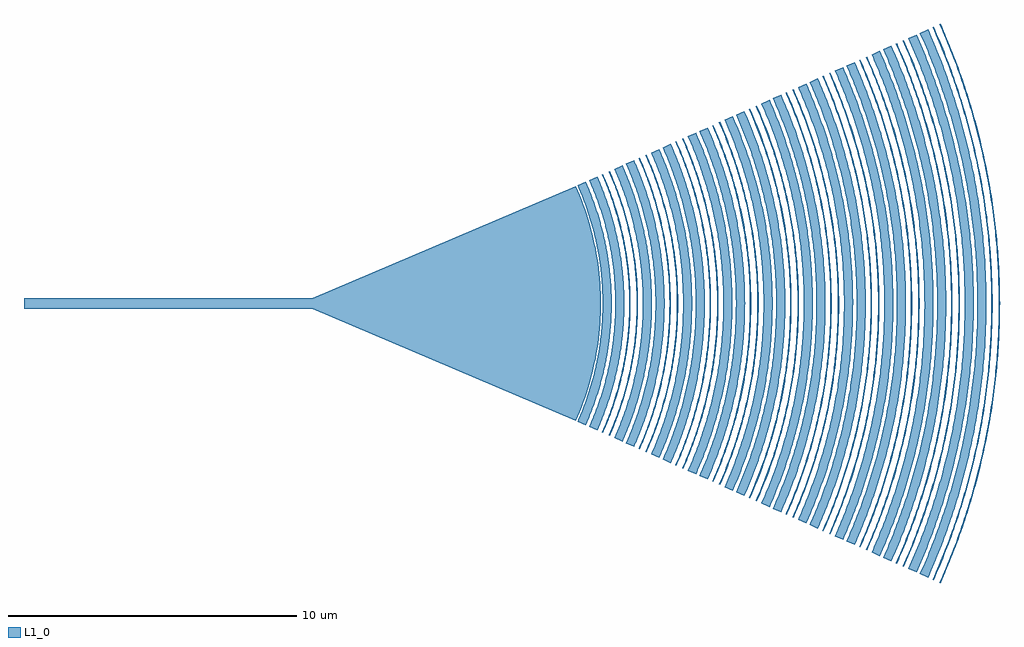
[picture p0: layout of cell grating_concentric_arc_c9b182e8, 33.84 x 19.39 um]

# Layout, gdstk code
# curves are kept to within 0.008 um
from math import pi, radians
import gdstk
lib = gdstk.Library(unit=1e-6, precision=1e-09)
def R(c, l, rs):  # rectangles x0, y0, x1, y1
    for r in rs: c.add(gdstk.rectangle(r[:2], r[2:], *l))
def P(c, l, *ps):  # polygons
    for p in ps: c.add(gdstk.Polygon(p, *l))
L1_0 = (1, 0)

straight_7f76c2be = lib.new_cell('straight_7f76c2be')
R(straight_7f76c2be, L1_0, [(0,-0.175,10,0.175)])

ring_57d88f06 = lib.new_cell('ring_57d88f06')
P(ring_57d88f06, L1_0, [(10.064,0),(10.056,0.41),(10.021,0.935),(9.958,1.459),(9.868,1.978),(9.751,2.492),(9.658,2.83),(9.516,3.277),(9.353,3.716),(9.146,4.2),(8.859,4.776),(8.596,5.234),(8.278,5.725),(7.967,6.15),(7.596,6.603),(7.158,7.075),(6.734,7.479),(6.942,7.71),(7.379,7.294),(7.791,6.852),(8.176,6.388),(8.499,5.951),(8.831,5.447),(9.104,4.977),(9.352,4.494),(9.62,3.887),(9.886,3.149),(10.082,2.451),(10.218,1.802),(10.312,1.145),(10.358,0.603),(10.375,0)])

ring_49fc0bc4 = lib.new_cell('ring_49fc0bc4')
P(ring_49fc0bc4, L1_0, [(10.504,0),(10.495,0.428),(10.464,0.915),(10.41,1.401),(10.311,2.004),(10.221,2.422),(10.08,2.954),(9.931,3.42),(9.739,3.935),(9.494,4.494),(9.216,5.039),(8.908,5.566),(8.569,6.075),(8.201,6.563),(7.847,6.983),(7.47,7.384),(7.028,7.806),(7.236,8.037),(7.692,7.603),(8.079,7.19),(8.483,6.708),(8.823,6.255),(9.138,5.784),(9.459,5.243),(9.748,4.684),(10.004,4.11),(10.266,3.402),(10.478,2.677),(10.628,2.002),(10.742,1.256),(10.793,0.692),(10.815,0)])

ring_69537ad3 = lib.new_cell('ring_69537ad3')
P(ring_69537ad3, L1_0, [(10.987,0),(10.978,0.447),(10.94,1.021),(10.913,1.276),(10.862,1.656),(10.773,2.159),(10.706,2.472),(10.613,2.844),(10.469,3.334),(10.303,3.818),(10.089,4.352),(9.931,4.701),(9.819,4.931),(9.61,5.327),(9.318,5.822),(9.037,6.25),(8.851,6.51),(8.619,6.815),(8.334,7.16),(8.165,7.352),(7.904,7.632),(7.632,7.904),(7.352,8.165),(7.38,8.196),(7.753,7.844),(7.978,7.615),(8.196,7.38),(8.571,6.941),(8.922,6.483),(9.071,6.273),(9.319,5.899),(9.615,5.403),(9.768,5.121),(9.913,4.835),(10.127,4.368),(10.226,4.131),(10.364,3.772),(10.509,3.347),(10.653,2.854),(10.746,2.481),(10.814,2.167),(10.903,1.662),(10.954,1.28),(10.987,0.961),(11.02,0.449),(11.029,0.064),(11.029,0)])

ring_47f802f8 = lib.new_cell('ring_47f802f8')
P(ring_47f802f8, L1_0, [(11.245,0),(11.23,0.589),(11.208,0.915),(11.177,1.24),(11.136,1.565),(11.086,1.888),(10.986,2.402),(10.845,2.974),(10.695,3.475),(10.522,3.969),(10.377,4.334),(10.273,4.574),(10.02,5.105),(9.739,5.623),(9.431,6.125),(9.136,6.557),(8.821,6.975),(8.53,7.328),(8.313,7.573),(8.089,7.812),(7.812,8.089),(7.524,8.357),(7.552,8.388),(7.981,7.981),(8.388,7.552),(8.604,7.305),(8.813,7.052),(9.17,6.581),(9.394,6.257),(9.537,6.037),(9.775,5.643),(10.057,5.124),(10.311,4.591),(10.537,4.045),(10.734,3.488),(10.813,3.237),(10.919,2.858),(11.054,2.282),(11.104,2.025),(11.168,1.636),(11.203,1.376),(11.244,0.984),(11.28,0.394),(11.287,0)])

ring_06f8e313 = lib.new_cell('ring_06f8e313')
P(ring_06f8e313, L1_0, [(11.459,0),(11.447,0.533),(11.41,1.065),(11.348,1.595),(11.249,2.187),(11.135,2.707),(10.997,3.223),(10.835,3.731),(10.625,4.293),(10.386,4.843),(10.055,5.497),(9.753,6.016),(9.387,6.573),(8.947,7.16),(8.516,7.668),(8.15,8.056),(7.668,8.516),(7.876,8.747),(8.323,8.323),(8.793,7.825),(9.233,7.3),(9.642,6.751),(10.054,6.121),(10.36,5.586),(10.609,5.098),(10.887,4.473),(11.173,3.702),(11.387,2.98),(11.541,2.313),(11.674,1.502),(11.742,0.821),(11.77,0)])

ring_b8cab41b = lib.new_cell('ring_b8cab41b')
P(ring_b8cab41b, L1_0, [(11.899,0),(11.886,0.554),(11.847,1.106),(11.763,1.793),(11.667,2.338),(11.545,2.879),(11.379,3.479),(11.205,4.004),(10.98,4.585),(10.725,5.154),(10.407,5.769),(10.054,6.364),(9.667,6.938),(9.247,7.488),(8.889,7.91),(8.414,8.414),(7.962,8.842),(8.17,9.074),(8.634,8.634),(9.168,8.064),(9.577,7.573),(10.002,7.003),(10.392,6.41),(10.747,5.795),(11.066,5.16),(11.294,4.64),(11.59,3.84),(11.794,3.16),(11.972,2.399),(12.101,1.629),(12.185,0.781),(12.21,0)])

ring_2b8b022c = lib.new_cell('ring_2b8b022c')
P(ring_2b8b022c, L1_0, [(12.382,0),(12.369,0.576),(12.347,0.936),(12.322,1.223),(12.281,1.58),(12.23,1.937),(12.112,2.574),(11.979,3.135),(11.862,3.551),(11.754,3.895),(11.534,4.505),(11.312,5.036),(11.033,5.621),(10.759,6.129),(10.614,6.377),(10.385,6.744),(10.06,7.22),(9.713,7.68),(9.392,8.069),(9.105,8.392),(8.857,8.653),(8.549,8.957),(8.285,9.202),(8.313,9.233),(8.734,8.836),(9.037,8.526),(9.233,8.313),(9.655,7.818),(9.834,7.592),(10.051,7.302),(10.218,7.067),(10.459,6.706),(10.759,6.212),(11.037,5.705),(11.198,5.381),(11.35,5.053),(11.492,4.721),(11.624,4.385),(11.816,3.839),(11.902,3.563),(12.019,3.146),(12.089,2.865),(12.167,2.512),(12.235,2.157),(12.282,1.872),(12.34,1.442),(12.37,1.155),(12.407,0.65),(12.423,0.145),(12.424,0)])

ring_8eca29e6 = lib.new_cell('ring_8eca29e6')
P(ring_8eca29e6, L1_0, [(12.64,0),(12.637,0.294),(12.623,0.662),(12.571,1.321),(12.496,1.905),(12.422,2.34),(12.364,2.628),(12.265,3.058),(12.19,3.342),(12.088,3.696),(11.999,3.976),(11.801,4.53),(11.577,5.074),(11.456,5.342),(11.296,5.673),(11.091,6.064),(10.947,6.32),(10.641,6.822),(10.312,7.31),(9.961,7.782),(9.777,8.012),(9.54,8.293),(9.244,8.621),(8.99,8.886),(8.781,9.093),(8.458,9.393),(8.486,9.424),(8.915,9.019),(9.224,8.703),(9.424,8.486),(9.809,8.038),(9.993,7.808),(10.26,7.454),(10.472,7.153),(10.636,6.907),(10.794,6.658),(10.983,6.341),(11.127,6.084),(11.333,5.691),(11.615,5.091),(11.866,4.476),(12.084,3.849),(12.17,3.566),(12.287,3.139),(12.357,2.853),(12.449,2.42),(12.548,1.838),(12.596,1.472),(12.64,1.032),(12.674,0.443),(12.682,0)])

ring_ff60fae7 = lib.new_cell('ring_ff60fae7')
P(ring_ff60fae7, L1_0, [(12.854,0),(12.84,0.598),(12.784,1.344),(12.696,2.011),(12.618,2.453),(12.508,2.964),(12.314,3.687),(12.129,4.256),(11.89,4.884),(11.586,5.568),(11.314,6.101),(10.901,6.812),(10.529,7.373),(10.083,7.973),(9.652,8.489),(9.142,9.036),(8.601,9.552),(8.809,9.784),(9.363,9.255),(9.835,8.752),(10.327,8.165),(10.74,7.614),(11.165,6.976),(11.514,6.383),(11.833,5.771),(12.178,5.003),(12.473,4.214),(12.717,3.407),(12.893,2.662),(13.037,1.832),(13.101,1.3),(13.133,0.918),(13.16,0.383),(13.165,0)])

ring_caf03b47 = lib.new_cell('ring_caf03b47')
P(ring_caf03b47, L1_0, [(13.294,0),(13.283,0.541),(13.229,1.313),(13.142,2.003),(13.019,2.688),(12.88,3.291),(12.713,3.887),(12.492,4.547),(12.267,5.123),(11.982,5.758),(11.627,6.445),(11.274,7.044),(10.845,7.688),(10.38,8.306),(9.982,8.78),(9.509,9.29),(8.895,9.879),(9.103,10.11),(9.676,9.564),(10.163,9.044),(10.672,8.438),(11.099,7.868),(11.453,7.343),(11.899,6.596),(12.228,5.964),(12.554,5.243),(12.811,4.579),(13.078,3.75),(13.291,2.906),(13.384,2.44),(13.461,1.972),(13.522,1.501),(13.566,1.028),(13.599,0.396),(13.605,0)])

ring_69cf05c6 = lib.new_cell('ring_69cf05c6')
P(ring_69cf05c6, L1_0, [(13.777,0),(13.769,0.481),(13.754,0.801),(13.702,1.44),(13.654,1.838),(13.595,2.234),(13.476,2.864),(13.406,3.177),(13.308,3.566),(13.221,3.874),(13.103,4.257),(13,4.561),(12.862,4.937),(12.744,5.235),(12.586,5.604),(12.312,6.183),(12.127,6.539),(11.931,6.889),(11.726,7.233),(11.511,7.571),(11.193,8.033),(10.807,8.545),(10.398,9.039),(10.185,9.278),(9.855,9.628),(9.513,9.966),(9.219,10.238),(9.246,10.269),(9.541,9.996),(9.828,9.714),(10.051,9.483),(10.323,9.187),(10.739,8.696),(11.132,8.187),(11.501,7.66),(11.719,7.323),(11.927,6.979),(12.125,6.629),(12.276,6.345),(12.49,5.913),(12.624,5.621),(12.782,5.251),(12.901,4.952),(13.066,4.499),(13.167,4.194),(13.348,3.577),(13.446,3.187),(13.517,2.873),(13.609,2.4),(13.661,2.082),(13.716,1.684),(13.759,1.284),(13.8,0.723),(13.818,0.161),(13.819,0)])

ring_54fb7290 = lib.new_cell('ring_54fb7290')
P(ring_54fb7290, L1_0, [(14.035,0),(14.029,0.408),(14.016,0.735),(13.995,1.06),(13.958,1.467),(13.875,2.115),(13.822,2.437),(13.745,2.838),(13.657,3.237),(13.557,3.633),(13.469,3.947),(13.323,4.415),(13.103,5.03),(12.951,5.409),(12.822,5.709),(12.615,6.153),(12.505,6.372),(12.315,6.733),(12.155,7.018),(11.771,7.644),(11.59,7.916),(11.355,8.25),(11.16,8.512),(10.907,8.833),(10.539,9.269),(10.265,9.572),(9.982,9.866),(9.75,10.096),(9.391,10.43),(9.419,10.461),(9.66,10.239),(9.954,9.954),(10.239,9.66),(10.516,9.358),(10.94,8.859),(11.193,8.537),(11.436,8.208),(11.716,7.803),(11.894,7.529),(12.108,7.18),(12.272,6.896),(12.429,6.609),(12.616,6.244),(12.893,5.651),(13.142,5.045),(13.31,4.583),(13.413,4.272),(13.554,3.801),(13.618,3.564),(13.716,3.167),(13.786,2.847),(13.863,2.444),(13.916,2.121),(13.972,1.715),(14.016,1.308),(14.053,0.818),(14.076,0.164),(14.077,0)])

ring_436e344e = lib.new_cell('ring_436e344e')
P(ring_436e344e, L1_0, [(14.249,0),(14.234,0.663),(14.195,1.242),(14.099,2.065),(13.987,2.719),(13.846,3.367),(13.674,4.007),(13.473,4.639),(13.18,5.415),(12.879,6.097),(12.542,6.763),(12.128,7.48),(11.672,8.173),(11.126,8.903),(10.699,9.411),(10.076,10.076),(9.534,10.589),(9.743,10.82),(10.415,10.175),(10.877,9.679),(11.421,9.031),(11.878,8.421),(12.348,7.716),(12.775,6.985),(13.16,6.23),(13.468,5.533),(13.653,5.059),(13.821,4.58),(14.086,3.687),(14.293,2.778),(14.43,1.942),(14.525,1.016),(14.554,0.423),(14.56,0)])

ring_5656dfb5 = lib.new_cell('ring_5656dfb5')
P(ring_5656dfb5, L1_0, [(14.688,0),(14.673,0.683),(14.617,1.45),(14.521,2.213),(14.419,2.803),(14.273,3.47),(14.096,4.131),(13.832,4.943),(13.587,5.582),(13.202,6.439),(12.847,7.121),(12.457,7.784),(11.983,8.495),(11.469,9.177),(10.973,9.765),(10.447,10.326),(9.828,10.916),(10.037,11.147),(10.668,10.544),(11.205,9.972),(11.712,9.372),(12.237,8.675),(12.72,7.949),(13.119,7.272),(13.519,6.497),(13.841,5.78),(14.154,4.966),(14.318,4.469),(14.466,3.966),(14.69,3.033),(14.854,2.088),(14.957,1.133),(14.987,0.611),(14.999,0)])

ring_357ed0d0 = lib.new_cell('ring_357ed0d0')
P(ring_357ed0d0, L1_0, [(15.172,0),(15.156,0.706),(15.129,1.146),(15.098,1.498),(15.048,1.937),(14.999,2.286),(14.957,2.548),(14.859,3.068),(14.763,3.499),(14.678,3.841),(14.56,4.267),(14.483,4.52),(14.374,4.856),(14.196,5.355),(14.034,5.765),(13.896,6.09),(13.788,6.332),(13.598,6.73),(13.396,7.123),(13.227,7.433),(13.005,7.814),(12.82,8.115),(12.529,8.557),(12.326,8.846),(11.956,9.341),(11.679,9.685),(11.45,9.954),(11.156,10.283),(10.852,10.603),(10.476,10.975),(10.152,11.275),(10.18,11.306),(10.44,11.066),(10.758,10.758),(11.066,10.44),(11.306,10.18),(11.597,9.847),(11.879,9.505),(12.097,9.226),(12.36,8.87),(12.613,8.507),(12.855,8.137),(13.086,7.76),(13.263,7.453),(13.433,7.142),(13.635,6.749),(13.934,6.107),(14.203,5.452),(14.356,5.037),(14.523,4.533),(14.672,4.023),(14.762,3.68),(14.917,2.99),(14.967,2.729),(15.053,2.205),(15.111,1.766),(15.156,1.326),(15.193,0.796),(15.211,0.266),(15.213,0)])

ring_1ff96e64 = lib.new_cell('ring_1ff96e64')
P(ring_1ff96e64, L1_0, [(15.43,0),(15.426,0.359),(15.409,0.808),(15.355,1.524),(15.304,1.97),(15.254,2.325),(15.18,2.768),(15.093,3.208),(14.972,3.733),(14.881,4.08),(14.675,4.768),(14.53,5.193),(14.405,5.53),(14.273,5.863),(14.096,6.276),(13.789,6.925),(13.539,7.402),(13.363,7.715),(13.18,8.024),(12.941,8.404),(12.742,8.703),(12.536,8.997),(12.323,9.286),(12.048,9.64),(11.586,10.191),(11.285,10.523),(10.911,10.911),(10.654,11.162),(10.325,11.467),(10.352,11.498),(10.617,11.254),(10.94,10.94),(11.254,10.617),(11.498,10.352),(11.794,10.014),(11.967,9.806),(12.192,9.525),(12.464,9.167),(12.877,8.577),(13.121,8.199),(13.399,7.736),(13.618,7.343),(13.826,6.944),(13.984,6.62),(14.134,6.293),(14.311,5.879),(14.476,5.46),(14.629,5.037),(14.742,4.695),(14.897,4.178),(14.99,3.83),(15.152,3.129),(15.221,2.775),(15.295,2.331),(15.367,1.796),(15.413,1.348),(15.455,0.72),(15.469,0.27),(15.471,0)])

ring_6693392e = lib.new_cell('ring_6693392e')
P(ring_6693392e, L1_0, [(15.644,0),(15.627,0.728),(15.567,1.545),(15.479,2.267),(15.339,3.074),(15.179,3.785),(14.987,4.487),(14.762,5.179),(14.436,6.029),(14.061,6.858),(13.726,7.505),(13.315,8.213),(12.815,8.973),(12.328,9.631),(11.747,10.332),(11.062,11.062),(10.468,11.626),(10.676,11.857),(11.282,11.282),(11.919,10.607),(12.573,9.823),(13.07,9.151),(13.531,8.455),(13.955,7.735),(14.381,6.911),(14.723,6.149),(15.086,5.194),(15.337,4.398),(15.587,3.408),(15.773,2.404),(15.858,1.76),(15.909,1.206),(15.942,0.65),(15.955,0)])

ring_786a20ff = lib.new_cell('ring_786a20ff')
P(ring_786a20ff, L1_0, [(16.083,0),(16.066,0.748),(16.005,1.588),(15.914,2.331),(15.77,3.161),(15.606,3.891),(15.381,4.702),(15.081,5.589),(14.805,6.284),(14.456,7.05),(14.067,7.797),(13.59,8.602),(13.121,9.302),(12.558,10.049),(12.015,10.692),(11.373,11.373),(10.762,11.952),(10.97,12.183),(11.593,11.593),(11.925,11.251),(12.31,10.828),(12.919,10.093),(13.43,9.403),(13.954,8.607),(14.385,7.865),(14.777,7.101),(15.165,6.23),(15.373,5.697),(15.532,5.247),(15.706,4.702),(15.836,4.243),(16.075,3.222),(16.235,2.282),(16.305,1.714),(16.348,1.239),(16.381,0.667),(16.394,0)])

ring_f346e5ba = lib.new_cell('ring_f346e5ba')
P(ring_f346e5ba, L1_0, [(16.567,0),(16.56,0.482),(16.549,0.771),(16.527,1.156),(16.486,1.636),(16.431,2.115),(16.378,2.496),(16.298,2.972),(16.225,3.35),(16.12,3.821),(16.027,4.195),(15.925,4.566),(15.786,5.028),(15.535,5.757),(15.361,6.206),(15.174,6.65),(14.974,7.089),(14.848,7.349),(14.628,7.778),(14.443,8.116),(14.201,8.533),(13.998,8.861),(13.735,9.264),(13.459,9.66),(13.055,10.2),(12.753,10.575),(12.503,10.869),(12.116,11.299),(11.715,11.715),(11.439,11.984),(11.085,12.312),(11.113,12.342),(11.327,12.147),(11.744,11.744),(12.147,11.327),(12.407,11.041),(12.723,10.676),(12.968,10.377),(13.206,10.072),(13.493,9.684),(13.823,9.207),(14.033,8.883),(14.286,8.471),(14.479,8.136),(14.619,7.882),(14.842,7.454),(14.97,7.194),(15.212,6.667),(15.363,6.311),(15.54,5.862),(15.64,5.59),(15.796,5.132),(15.938,4.671),(16.067,4.205),(16.183,3.736),(16.285,3.264),(16.373,2.789),(16.447,2.311),(16.507,1.832),(16.545,1.448),(16.586,0.869),(16.606,0.29),(16.608,0)])

ring_6eadee90 = lib.new_cell('ring_6eadee90')
P(ring_6eadee90, L1_0, [(16.825,0),(16.818,0.489),(16.802,0.881),(16.777,1.271),(16.733,1.759),(16.687,2.148),(16.618,2.632),(16.516,3.21),(16.437,3.594),(16.252,4.355),(16.09,4.919),(15.971,5.292),(15.81,5.754),(15.672,6.121),(15.41,6.754),(15.29,7.022),(15.079,7.463),(14.901,7.812),(14.668,8.242),(14.422,8.665),(14.164,9.081),(14.003,9.327),(13.669,9.81),(13.496,10.047),(13.198,10.435),(12.889,10.815),(12.698,11.038),(12.438,11.331),(12.035,11.758),(11.688,12.103),(11.258,12.503),(11.286,12.534),(11.646,12.201),(11.995,11.857),(12.201,11.646),(12.6,11.213),(12.857,10.916),(13.169,10.538),(13.411,10.229),(13.703,9.834),(13.928,9.513),(14.199,9.104),(14.407,8.771),(14.656,8.348),(14.846,8.005),(15.072,7.57),(15.286,7.128),(15.448,6.77),(15.564,6.5),(15.781,5.953),(15.915,5.584),(16.071,5.119),(16.186,4.743),(16.317,4.27),(16.412,3.89),(16.518,3.411),(16.593,3.025),(16.674,2.542),(16.741,2.055),(16.802,1.47),(16.838,0.981),(16.864,0.294),(16.866,0)])

ring_6454fc4b = lib.new_cell('ring_6454fc4b')
P(ring_6454fc4b, L1_0, [(17.039,0),(17.025,0.694),(16.956,1.682),(16.859,2.469),(16.707,3.348),(16.533,4.122),(16.294,4.982),(16.045,5.734),(15.723,6.566),(15.358,7.38),(14.902,8.261),(14.656,8.691),(14.344,9.197),(13.843,9.935),(13.242,10.723),(12.596,11.475),(11.978,12.118),(11.401,12.662),(11.609,12.893),(12.339,12.197),(13.028,11.459),(13.672,10.682),(14.154,10.034),(14.714,9.194),(15.175,8.411),(15.594,7.606),(15.971,6.779),(16.338,5.839),(16.532,5.265),(16.678,4.782),(16.928,3.804),(17.05,3.211),(17.152,2.614),(17.233,2.014),(17.308,1.21),(17.343,0.505),(17.35,0)])

ring_584bad5d = lib.new_cell('ring_584bad5d')
P(ring_584bad5d, L1_0, [(17.478,0),(17.449,1.016),(17.383,1.827),(17.279,2.634),(17.117,3.534),(16.909,4.425),(16.685,5.207),(16.354,6.169),(16.089,6.829),(15.665,7.753),(15.287,8.474),(15.034,8.915),(14.714,9.434),(14.2,10.191),(13.647,10.92),(13.324,11.313),(12.921,11.771),(12.287,12.431),(11.695,12.989),(11.903,13.22),(12.652,12.506),(13.358,11.749),(13.89,11.115),(14.513,10.288),(15.031,9.515),(15.559,8.624),(15.989,7.798),(16.375,6.951),(16.752,5.987),(16.919,5.497),(17.1,4.903),(17.236,4.404),(17.379,3.8),(17.554,2.885),(17.657,2.168),(17.722,1.55),(17.775,0.724),(17.789,0)])

ring_c5e74c29 = lib.new_cell('ring_c5e74c29')
P(ring_c5e74c29, L1_0, [(17.962,0),(17.957,0.418),(17.937,0.94),(17.918,1.253),(17.874,1.774),(17.815,2.293),(17.757,2.707),(17.689,3.119),(17.591,3.632),(17.525,3.939),(17.403,4.447),(17.266,4.951),(17.115,5.451),(16.949,5.946),(16.769,6.437),(16.654,6.729),(16.409,7.306),(16.234,7.686),(16.004,8.154),(15.81,8.525),(15.555,8.981),(15.288,9.43),(15.121,9.695),(14.832,10.131),(14.593,10.473),(14.345,10.81),(14.09,11.141),(13.76,11.546),(13.487,11.863),(13.136,12.25),(12.775,12.627),(12.402,12.993),(12.019,13.348),(12.047,13.379),(12.355,13.095),(12.656,12.804),(13.023,12.431),(13.379,12.047),(13.656,11.732),(13.991,11.33),(14.315,10.918),(14.565,10.582),(14.867,10.154),(15.042,9.893),(15.378,9.362),(15.591,9.002),(15.847,8.544),(16.041,8.173),(16.227,7.798),(16.447,7.323),(16.613,6.938),(16.808,6.452),(16.988,5.96),(17.122,5.563),(17.277,5.063),(17.39,4.66),(17.494,4.254),(17.61,3.743),(17.73,3.126),(17.798,2.713),(17.882,2.09),(17.935,1.569),(17.979,0.942),(18.001,0.314),(18.003,0)])

ring_9e151aec = lib.new_cell('ring_9e151aec')
P(ring_9e151aec, L1_0, [(18.22,0),(18.215,0.424),(18.195,0.954),(18.168,1.377),(18.109,2.01),(18.057,2.431),(17.979,2.955),(17.905,3.372),(17.822,3.788),(17.729,4.202),(17.599,4.716),(17.424,5.327),(17.328,5.63),(17.157,6.132),(17.01,6.529),(16.813,7.021),(16.645,7.411),(16.468,7.796),(16.234,8.272),(16.037,8.647),(15.832,9.018),(15.563,9.475),(15.395,9.745),(15.164,10.1),(14.864,10.537),(14.551,10.965),(14.292,11.301),(14.025,11.63),(13.751,11.953),(13.469,12.27),(13.032,12.733),(12.58,13.18),(12.191,13.54),(12.219,13.571),(12.609,13.21),(12.913,12.913),(13.21,12.609),(13.571,12.219),(13.851,11.9),(14.125,11.575),(14.52,11.075),(14.774,10.734),(15.08,10.299),(15.373,9.857),(15.598,9.496),(15.815,9.131),(16.074,8.667),(16.319,8.196),(16.505,7.814),(16.683,7.428),(16.932,6.841),(17.086,6.445),(17.196,6.146),(17.368,5.643),(17.524,5.136),(17.666,4.624),(17.769,4.211),(17.884,3.693),(17.984,3.171),(18.084,2.541),(18.138,2.12),(18.192,1.592),(18.236,0.956),(18.254,0.531),(18.26,0.212),(18.261,0)])

ring_fda5cbe6 = lib.new_cell('ring_fda5cbe6')
P(ring_fda5cbe6, L1_0, [(18.434,0),(18.414,0.858),(18.344,1.82),(18.207,2.884),(18.053,3.728),(17.86,4.564),(17.597,5.492),(17.322,6.305),(17.01,7.104),(16.707,7.79),(16.276,8.654),(15.856,9.402),(15.46,10.04),(15.1,10.573),(14.722,11.094),(14.052,11.931),(13.699,12.335),(13.26,12.805),(12.805,13.26),(12.335,13.699),(12.543,13.93),(13.255,13.255),(14.003,12.461),(14.636,11.712),(15.292,10.841),(15.838,10.026),(16.395,9.088),(16.848,8.217),(17.255,7.324),(17.5,6.718),(17.688,6.206),(18.019,5.167),(18.289,4.11),(18.497,3.04),(18.605,2.284),(18.683,1.525),(18.729,0.763),(18.745,0)])

ring_3c62e94a = lib.new_cell('ring_3c62e94a')
P(ring_3c62e94a, L1_0, [(18.873,0),(18.853,0.878),(18.781,1.864),(18.658,2.844),(18.505,3.709),(18.313,4.566),(18.049,5.518),(17.735,6.455),(17.373,7.374),(17.011,8.175),(16.56,9.054),(16.121,9.814),(15.708,10.463),(15.073,11.358),(14.736,11.792),(14.316,12.299),(13.878,12.791),(13.423,13.268),(12.629,14.026),(12.837,14.257),(13.644,13.486),(14.331,12.754),(14.979,11.986),(15.651,11.095),(16.21,10.261),(16.779,9.301),(17.243,8.41),(17.703,7.393),(17.95,6.771),(18.139,6.246),(18.472,5.181),(18.742,4.098),(18.853,3.551),(18.948,3.001),(19.055,2.227),(19.121,1.561),(19.173,0.67),(19.184,0)])

ring_4c10568e = lib.new_cell('ring_4c10568e')
P(ring_4c10568e, L1_0, [(19.357,0),(19.349,0.563),(19.336,0.901),(19.293,1.575),(19.251,2.023),(19.184,2.582),(19.136,2.917),(19.043,3.472),(18.934,4.024),(18.835,4.464),(18.726,4.901),(18.607,5.335),(18.444,5.874),(18.302,6.302),(18.151,6.726),(17.905,7.355),(17.729,7.77),(17.543,8.18),(17.298,8.687),(17.144,8.988),(16.875,9.483),(16.65,9.873),(16.295,10.448),(15.984,10.917),(15.726,11.286),(15.459,11.649),(15.184,12.006),(14.9,12.356),(14.535,12.784),(14.157,13.201),(13.767,13.607),(13.365,14.002),(12.952,14.385),(12.98,14.416),(13.312,14.11),(13.717,13.717),(14.11,13.312),(14.416,12.98),(14.714,12.641),(15.146,12.12),(15.424,11.764),(15.76,11.31),(16.145,10.754),(16.391,10.375),(16.628,9.991),(16.911,9.503),(17.128,9.107),(17.335,8.706),(17.581,8.198),(17.767,7.787),(17.986,7.267),(18.15,6.846),(18.378,6.209),(18.483,5.887),(18.647,5.347),(18.766,4.912),(18.901,4.364),(19.02,3.812),(19.123,3.257),(19.225,2.588),(19.28,2.14),(19.334,1.578),(19.372,1.015),(19.397,0.226),(19.398,0)])

ring_5d6457ca = lib.new_cell('ring_5d6457ca')
P(ring_5d6457ca, L1_0, [(19.615,0),(19.603,0.685),(19.588,1.027),(19.559,1.482),(19.519,1.937),(19.454,2.504),(19.391,2.956),(19.297,3.518),(19.186,4.078),(19.086,4.523),(18.976,4.966),(18.791,5.626),(18.655,6.061),(18.509,6.494),(18.271,7.136),(18.1,7.559),(17.919,7.978),(17.63,8.599),(17.477,8.905),(17.265,9.309),(16.987,9.807),(16.754,10.2),(16.45,10.683),(16.133,11.157),(15.869,11.529),(15.527,11.986),(15.315,12.255),(15.026,12.608),(14.653,13.04),(14.189,13.543),(13.87,13.87),(13.543,14.189),(13.125,14.577),(13.153,14.607),(13.572,14.219),(13.818,13.98),(14.219,13.572),(14.607,13.153),(14.835,12.896),(15.204,12.459),(15.629,11.921),(15.902,11.554),(16.232,11.086),(16.485,10.706),(16.73,10.319),(17.023,9.828),(17.247,9.429),(17.514,8.924),(17.717,8.514),(17.957,7.995),(18.182,7.469),(18.351,7.044),(18.51,6.615),(18.694,6.074),(18.863,5.528),(18.957,5.198),(19.1,4.644),(19.227,4.087),(19.317,3.638),(19.432,2.962),(19.51,2.395),(19.571,1.827),(19.623,1.143),(19.651,0.457),(19.656,0)])

ring_7e6c0f16 = lib.new_cell('ring_7e6c0f16')
P(ring_7e6c0f16, L1_0, [(19.829,0),(19.807,0.923),(19.732,1.958),(19.585,3.102),(19.442,3.897),(19.183,5.021),(18.928,5.908),(18.633,6.782),(18.252,7.748),(17.922,8.484),(17.508,9.309),(17.056,10.113),(16.567,10.896),(16.243,11.373),(15.836,11.933),(15.41,12.479),(14.965,13.009),(14.58,13.439),(14.183,13.857),(13.774,14.264),(13.268,14.736),(13.476,14.967),(13.906,14.568),(14.324,14.158),(15.045,13.389),(15.725,12.583),(16.362,11.743),(16.697,11.262),(17.017,10.772),(17.383,10.171),(17.615,9.764),(18.05,8.934),(18.302,8.405),(18.539,7.869),(18.76,7.327),(19.004,6.668),(19.19,6.112),(19.36,5.551),(19.513,4.986),(19.65,4.416),(19.77,3.843),(19.892,3.151),(20.004,2.338),(20.073,1.639),(20.123,0.82),(20.14,0)])

ring_9dd1b77c = lib.new_cell('ring_9dd1b77c')
P(ring_9dd1b77c, L1_0, [(20.268,0),(20.246,0.943),(20.169,2.001),(20.037,3.054),(19.873,3.983),(19.637,5.018),(19.383,5.926),(19.046,6.932),(18.836,7.483),(18.611,8.028),(18.217,8.885),(17.784,9.723),(17.312,10.54),(16.869,11.236),(16.535,11.722),(16.116,12.292),(15.677,12.847),(15.374,13.208),(14.983,13.649),(14.498,14.164),(14.079,14.58),(13.562,15.062),(13.77,15.293),(14.552,14.552),(14.969,14.122),(15.373,13.681),(15.765,13.228),(16.143,12.764),(16.789,11.902),(17.388,11.007),(17.941,10.082),(18.282,9.449),(18.549,8.914),(18.99,7.931),(19.255,7.263),(19.419,6.813),(19.645,6.131),(19.815,5.557),(19.968,4.979),(20.104,4.396),(20.307,3.337),(20.426,2.508),(20.511,1.674),(20.567,0.718),(20.579,0)])

ring_956aa3fb = lib.new_cell('ring_956aa3fb')
P(ring_956aa3fb, L1_0, [(20.752,0),(20.743,0.604),(20.717,1.207),(20.683,1.688),(20.638,2.169),(20.55,2.888),(20.477,3.365),(20.393,3.841),(20.273,4.433),(20.164,4.903),(20.045,5.371),(19.88,5.952),(19.736,6.413),(19.541,6.984),(19.373,7.437),(19.149,7.997),(18.958,8.44),(18.756,8.879),(18.49,9.421),(18.266,9.849),(17.971,10.376),(17.662,10.894),(17.404,11.302),(17.068,11.804),(16.859,12.1),(16.573,12.489),(16.278,12.871),(15.897,13.339),(15.582,13.705),(15.177,14.153),(14.759,14.588),(14.328,15.011),(13.886,15.421),(13.913,15.452),(14.357,15.041),(14.703,14.703),(15.041,14.357),(15.533,13.823),(15.772,13.55),(16.159,13.086),(16.533,12.61),(16.893,12.124),(17.102,11.827),(17.439,11.325),(17.761,10.813),(18.068,10.292),(18.302,9.868),(18.527,9.44),(18.794,8.897),(19.044,8.347),(19.279,7.789),(19.455,7.339),(19.621,6.884),(19.849,6.195),(19.988,5.731),(20.116,5.265),(20.233,4.795),(20.364,4.205),(20.456,3.73),(20.556,3.133),(20.623,2.654),(20.692,2.053),(20.751,1.33),(20.784,0.605),(20.793,0)])

ring_4fcf729d = lib.new_cell('ring_4fcf729d')
P(ring_4fcf729d, L1_0, [(21.01,0),(21.001,0.611),(20.981,1.1),(20.95,1.587),(20.895,2.196),(20.838,2.682),(20.77,3.166),(20.669,3.769),(20.576,4.249),(20.471,4.726),(20.325,5.32),(20.196,5.791),(20.019,6.376),(19.825,6.956),(19.658,7.415),(19.434,7.984),(19.243,8.434),(18.989,8.99),(18.775,9.429),(18.493,9.971),(18.256,10.399),(18.009,10.821),(17.752,11.237),(17.486,11.647),(17.14,12.151),(16.925,12.448),(16.556,12.935),(16.173,13.411),(15.776,13.876),(15.282,14.418),(14.856,14.856),(14.418,15.282),(14.058,15.613),(14.086,15.644),(14.535,15.228),(14.972,14.799),(15.396,14.357),(15.726,13.995),(16.047,13.625),(16.36,13.248),(16.664,12.864),(17.031,12.374),(17.314,11.974),(17.655,11.465),(17.981,10.947),(18.231,10.526),(18.471,10.098),(18.757,9.557),(19.027,9.007),(19.281,8.45),(19.564,7.772),(19.782,7.2),(19.944,6.738),(20.095,6.272),(20.236,5.802),(20.396,5.211),(20.512,4.735),(20.641,4.137),(20.752,3.535),(20.829,3.051),(20.909,2.444),(20.971,1.835),(21.022,1.102),(21.048,0.367),(21.051,0)])

ring_fcd42ff1 = lib.new_cell('ring_fcd42ff1')
P(ring_fcd42ff1, L1_0, [(21.224,0),(21.201,0.987),(21.12,2.096),(20.981,3.198),(20.81,4.171),(20.563,5.254),(20.26,6.323),(19.944,7.259),(19.724,7.836),(19.488,8.406),(19.076,9.304),(18.681,10.073),(18.192,10.931),(17.664,11.766),(17.243,12.375),(16.95,12.773),(16.494,13.356),(16.018,13.924),(15.606,14.384),(15.181,14.832),(14.743,15.267),(14.201,15.772),(14.409,16.003),(14.778,15.664),(15.316,15.138),(16.087,14.316),(16.416,13.938),(16.892,13.357),(17.568,12.454),(18.196,11.518),(18.774,10.55),(19.3,9.553),(19.57,8.987),(19.823,8.414),(20.236,7.365),(20.442,6.774),(20.666,6.056),(20.833,5.452),(21.011,4.722),(21.163,3.986),(21.25,3.492),(21.374,2.624),(21.453,1.877),(21.517,0.877),(21.535,0)])

ring_73b652f5 = lib.new_cell('ring_73b652f5')
P(ring_73b652f5, L1_0, [(21.663,0),(21.64,1.008),(21.557,2.139),(21.416,3.264),(21.241,4.257),(20.989,5.363),(20.679,6.454),(20.357,7.409),(19.941,8.464),(19.526,9.383),(19.068,10.281),(18.569,11.157),(18.03,12.009),(17.6,12.631),(17.225,13.138),(16.756,13.731),(16.432,14.117),(15.929,14.682),(15.495,15.139),(15.048,15.583),(14.495,16.099),(14.704,16.33),(15.538,15.538),(16.33,14.704),(17.077,13.829),(17.472,13.326),(17.852,12.812),(18.146,12.394),(18.567,11.753),(19.157,10.765),(19.694,9.748),(19.969,9.171),(20.227,8.586),(20.649,7.516),(20.899,6.79),(21.087,6.18),(21.258,5.564),(21.411,4.943),(21.546,4.318),(21.662,3.69),(21.778,2.932),(21.879,2.042),(21.944,1.15),(21.974,0.128),(21.974,0)])

ring_f6a8531b = lib.new_cell('ring_f6a8531b')
P(ring_f6a8531b, L1_0, [(22.147,0),(22.141,0.515),(22.123,1.03),(22.093,1.545),(22.025,2.315),(21.949,2.955),(21.874,3.464),(21.764,4.099),(21.663,4.605),(21.55,5.107),(21.392,5.732),(21.253,6.228),(21.063,6.844),(20.898,7.332),(20.676,7.937),(20.436,8.535),(20.232,9.008),(20.017,9.476),(19.733,10.054),(19.493,10.511),(19.244,10.961),(18.917,11.517),(18.644,11.954),(18.288,12.491),(17.992,12.913),(17.609,13.431),(17.292,13.837),(16.965,14.236),(16.544,14.723),(16.109,15.198),(15.751,15.569),(15.198,16.109),(14.819,16.458),(14.847,16.489),(15.226,16.139),(15.598,15.78),(16.05,15.32),(16.489,14.847),(16.914,14.361),(17.324,13.863),(17.642,13.456),(17.951,13.042),(18.249,12.621),(18.538,12.193),(18.817,11.758),(19.151,11.206),(19.406,10.757),(19.711,10.188),(19.999,9.61),(20.27,9.025),(20.524,8.431),(20.76,7.831),(20.937,7.346),(21.142,6.734),(21.329,6.116),(21.465,5.618),(21.59,5.117),(21.73,4.487),(21.851,3.853),(21.954,3.216),(22.053,2.448),(22.104,1.934),(22.158,1.161),(22.185,0.387),(22.188,0)])

ring_819b5576 = lib.new_cell('ring_819b5576')
P(ring_819b5576, L1_0, [(22.405,0),(22.395,0.652),(22.374,1.173),(22.33,1.823),(22.282,2.342),(22.221,2.86),(22.129,3.505),(22.041,4.019),(21.942,4.531),(21.801,5.167),(21.707,5.547),(21.537,6.176),(21.348,6.799),(21.184,7.294),(20.963,7.907),(20.724,8.514),(20.468,9.113),(20.25,9.587),(19.963,10.171),(19.658,10.748),(19.403,11.202),(19.137,11.651),(18.861,12.093),(18.501,12.636),(18.126,13.169),(17.735,13.691),(17.412,14.1),(17.079,14.501),(16.823,14.797),(16.386,15.28),(16.026,15.657),(15.469,16.207),(14.992,16.65),(15.019,16.681),(15.498,16.237),(15.872,15.872),(16.327,15.403),(16.768,14.922),(17.195,14.428),(17.526,14.024),(17.926,13.508),(18.236,13.088),(18.609,12.552),(18.896,12.115),(19.24,11.561),(19.504,11.11),(19.819,10.538),(20.059,10.074),(20.343,9.486),(20.505,9.13),(20.662,8.77),(20.908,8.166),(21.137,7.554),(21.307,7.06),(21.503,6.438),(21.647,5.935),(21.811,5.303),(21.956,4.667),(22.082,4.026),(22.19,3.382),(22.279,2.735),(22.349,2.086),(22.408,1.305),(22.437,0.653),(22.446,0)])

ring_7fe7801b = lib.new_cell('ring_7fe7801b')
P(ring_7fe7801b, L1_0, [(22.618,0),(22.594,1.052),(22.554,1.709),(22.495,2.364),(22.34,3.538),(22.151,4.574),(22.009,5.216),(21.848,5.854),(21.552,6.864),(21.163,7.983),(20.769,8.959),(20.387,9.797),(20.093,10.386),(19.783,10.966),(19.32,11.762),(18.752,12.648),(18.299,13.295),(17.824,13.925),(17.411,14.438),(16.984,14.938),(16.179,15.807),(15.617,16.362),(15.135,16.809),(15.343,17.04),(16.214,16.214),(16.77,15.638),(17.129,15.243),(17.565,14.739),(17.986,14.222),(18.706,13.261),(19.374,12.264),(19.99,11.233),(20.308,10.647),(20.609,10.052),(20.893,9.448),(21.107,8.959),(21.407,8.217),(21.592,7.717),(21.807,7.086),(22.004,6.448),(22.182,5.806),(22.342,5.158),(22.456,4.637),(22.604,3.85),(22.759,2.794),(22.854,1.866),(22.911,0.934),(22.93,0)])

ring_6a49fec0 = lib.new_cell('ring_6a49fec0')
P(ring_6a49fec0, L1_0, [(23.058,0),(23.052,0.537),(23.019,1.341),(22.932,2.41),(22.795,3.475),(22.582,4.663),(22.307,5.838),(22.011,6.87),(21.802,7.507),(21.621,8.012),(21.225,9.009),(20.783,9.987),(20.296,10.943),(19.765,11.876),(19.191,12.782),(18.811,13.335),(18.334,13.984),(17.835,14.615),(17.49,15.026),(16.955,15.627),(16.493,16.114),(16.017,16.587),(15.429,17.135),(15.637,17.367),(16.428,16.62),(16.998,16.037),(17.367,15.637),(17.726,15.229),(18.161,14.707),(18.581,14.172),(18.986,13.626),(19.673,12.613),(20.306,11.567),(20.634,10.971),(20.944,10.366),(21.237,9.753),(21.458,9.256),(21.718,8.628),(21.96,7.993),(22.183,7.351),(22.426,6.572),(22.608,5.917),(22.77,5.257),(23.014,4.058),(23.142,3.252),(23.268,2.172),(23.344,1.087),(23.369,0.136),(23.369,0)])

ring_ad46978f = lib.new_cell('ring_ad46978f')
P(ring_ad46978f, L1_0, [(23.541,0),(23.535,0.548),(23.502,1.369),(23.452,2.052),(23.398,2.597),(23.331,3.141),(23.252,3.683),(23.16,4.223),(23.027,4.895),(22.907,5.429),(22.739,6.093),(22.552,6.752),(22.389,7.275),(22.214,7.794),(21.978,8.437),(21.776,8.946),(21.562,9.45),(21.278,10.073),(20.976,10.688),(20.721,11.173),(20.456,11.652),(20.179,12.125),(19.818,12.707),(19.44,13.278),(19.126,13.726),(18.801,14.168),(18.381,14.708),(18.122,15.027),(17.677,15.548),(17.31,15.955),(16.839,16.452),(16.254,17.029),(15.752,17.495),(15.78,17.526),(16.184,17.154),(16.676,16.676),(17.154,16.184),(17.526,15.78),(17.888,15.368),(18.241,14.948),(18.668,14.411),(19.079,13.862),(19.474,13.301),(19.853,12.729),(20.144,12.264),(20.492,11.672),(20.823,11.072),(21.075,10.584),(21.315,10.091),(21.6,9.467),(21.814,8.961),(22.017,8.451),(22.253,7.807),(22.471,7.157),(22.631,6.632),(22.815,5.971),(22.979,5.305),(23.096,4.769),(23.225,4.095),(23.314,3.554),(23.424,2.738),(23.481,2.192),(23.535,1.508),(23.577,0.549),(23.583,0)])

ring_e0a3c241 = lib.new_cell('ring_e0a3c241')
P(ring_e0a3c241, L1_0, [(23.799,0),(23.793,0.554),(23.767,1.246),(23.721,1.936),(23.669,2.488),(23.605,3.038),(23.528,3.586),(23.438,4.133),(23.308,4.813),(23.158,5.489),(23.024,6.026),(22.839,6.693),(22.635,7.354),(22.411,8.01),(22.219,8.529),(21.961,9.172),(21.742,9.68),(21.511,10.183),(21.268,10.681),(21.014,11.173),(20.68,11.78),(20.4,12.258),(20.035,12.846),(19.653,13.423),(19.335,13.877),(19.007,14.323),(18.669,14.761),(18.32,15.192),(17.871,15.718),(17.406,16.231),(16.926,16.731),(16.433,17.216),(15.925,17.686),(15.953,17.717),(16.361,17.341),(16.76,16.956),(17.246,16.461),(17.717,15.953),(18.174,15.431),(18.528,15.004),(18.872,14.568),(19.288,14.013),(19.609,13.561),(19.995,12.985),(20.364,12.398),(20.647,11.92),(20.919,11.437),(21.242,10.824),(21.489,10.326),(21.78,9.697),(22.053,9.059),(22.307,8.414),(22.497,7.893),(22.717,7.235),(22.879,6.705),(23.029,6.17),(23.166,5.633),(23.32,4.957),(23.479,4.14),(23.569,3.592),(23.68,2.768),(23.738,2.216),(23.801,1.386),(23.831,0.693),(23.841,0)])

grating_concentric_arc_c = lib.new_cell('grating_concentric_arc_c9b182e8')
P(grating_concentric_arc_c, L1_0, [(0,0.175),(0,-0.175),(9.135,-4.067),(9.336,-3.584),(9.511,-3.09),(9.659,-2.588),(9.781,-2.079),(9.877,-1.564),(9.945,-1.045),(9.986,-0.523),(10,0),(9.986,0.523),(9.945,1.045),(9.877,1.564),(9.781,2.079),(9.659,2.588),(9.511,3.09),(9.336,3.584),(9.135,4.067)])
grating_concentric_arc_c.add(gdstk.Reference(straight_7f76c2be, (-10,0)))
grating_concentric_arc_c.add(gdstk.Reference(ring_57d88f06, (0,0), rotation=radians(336)))
grating_concentric_arc_c.add(gdstk.Reference(ring_49fc0bc4, (0,0), rotation=radians(336)))
grating_concentric_arc_c.add(gdstk.Reference(ring_69537ad3, (0,0), rotation=radians(336)))
grating_concentric_arc_c.add(gdstk.Reference(ring_47f802f8, (0,0), rotation=radians(336)))
grating_concentric_arc_c.add(gdstk.Reference(ring_06f8e313, (0,0), rotation=radians(336)))
grating_concentric_arc_c.add(gdstk.Reference(ring_b8cab41b, (0,0), rotation=radians(336)))
grating_concentric_arc_c.add(gdstk.Reference(ring_2b8b022c, (0,0), rotation=radians(336)))
grating_concentric_arc_c.add(gdstk.Reference(ring_8eca29e6, (0,0), rotation=radians(336)))
grating_concentric_arc_c.add(gdstk.Reference(ring_ff60fae7, (0,0), rotation=radians(336)))
grating_concentric_arc_c.add(gdstk.Reference(ring_caf03b47, (0,0), rotation=radians(336)))
grating_concentric_arc_c.add(gdstk.Reference(ring_69cf05c6, (0,0), rotation=radians(336)))
grating_concentric_arc_c.add(gdstk.Reference(ring_54fb7290, (0,0), rotation=radians(336)))
grating_concentric_arc_c.add(gdstk.Reference(ring_436e344e, (0,0), rotation=radians(336)))
grating_concentric_arc_c.add(gdstk.Reference(ring_5656dfb5, (0,0), rotation=radians(336)))
grating_concentric_arc_c.add(gdstk.Reference(ring_357ed0d0, (0,0), rotation=radians(336)))
grating_concentric_arc_c.add(gdstk.Reference(ring_1ff96e64, (0,0), rotation=radians(336)))
grating_concentric_arc_c.add(gdstk.Reference(ring_6693392e, (0,0), rotation=radians(336)))
grating_concentric_arc_c.add(gdstk.Reference(ring_786a20ff, (0,0), rotation=radians(336)))
grating_concentric_arc_c.add(gdstk.Reference(ring_f346e5ba, (0,0), rotation=radians(336)))
grating_concentric_arc_c.add(gdstk.Reference(ring_6eadee90, (0,0), rotation=radians(336)))
grating_concentric_arc_c.add(gdstk.Reference(ring_6454fc4b, (0,0), rotation=radians(336)))
grating_concentric_arc_c.add(gdstk.Reference(ring_584bad5d, (0,0), rotation=radians(336)))
grating_concentric_arc_c.add(gdstk.Reference(ring_c5e74c29, (0,0), rotation=radians(336)))
grating_concentric_arc_c.add(gdstk.Reference(ring_9e151aec, (0,0), rotation=radians(336)))
grating_concentric_arc_c.add(gdstk.Reference(ring_fda5cbe6, (0,0), rotation=radians(336)))
grating_concentric_arc_c.add(gdstk.Reference(ring_3c62e94a, (0,0), rotation=radians(336)))
grating_concentric_arc_c.add(gdstk.Reference(ring_4c10568e, (0,0), rotation=radians(336)))
grating_concentric_arc_c.add(gdstk.Reference(ring_5d6457ca, (0,0), rotation=radians(336)))
grating_concentric_arc_c.add(gdstk.Reference(ring_7e6c0f16, (0,0), rotation=radians(336)))
grating_concentric_arc_c.add(gdstk.Reference(ring_9dd1b77c, (0,0), rotation=radians(336)))
grating_concentric_arc_c.add(gdstk.Reference(ring_956aa3fb, (0,0), rotation=radians(336)))
grating_concentric_arc_c.add(gdstk.Reference(ring_4fcf729d, (0,0), rotation=radians(336)))
grating_concentric_arc_c.add(gdstk.Reference(ring_fcd42ff1, (0,0), rotation=radians(336)))
grating_concentric_arc_c.add(gdstk.Reference(ring_73b652f5, (0,0), rotation=radians(336)))
grating_concentric_arc_c.add(gdstk.Reference(ring_f6a8531b, (0,0), rotation=radians(336)))
grating_concentric_arc_c.add(gdstk.Reference(ring_819b5576, (0,0), rotation=radians(336)))
grating_concentric_arc_c.add(gdstk.Reference(ring_7fe7801b, (0,0), rotation=radians(336)))
grating_concentric_arc_c.add(gdstk.Reference(ring_6a49fec0, (0,0), rotation=radians(336)))
grating_concentric_arc_c.add(gdstk.Reference(ring_ad46978f, (0,0), rotation=radians(336)))
grating_concentric_arc_c.add(gdstk.Reference(ring_e0a3c241, (0,0), rotation=radians(336)))

lib.write_gds('grating_concentric_arc_c9b182e8.gds')
